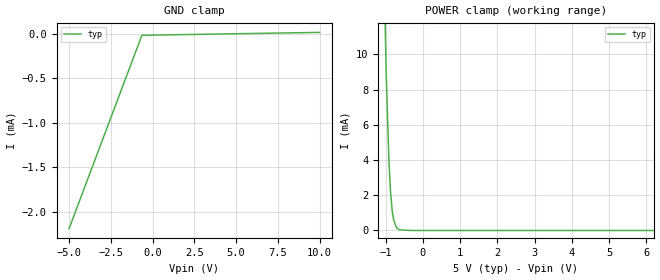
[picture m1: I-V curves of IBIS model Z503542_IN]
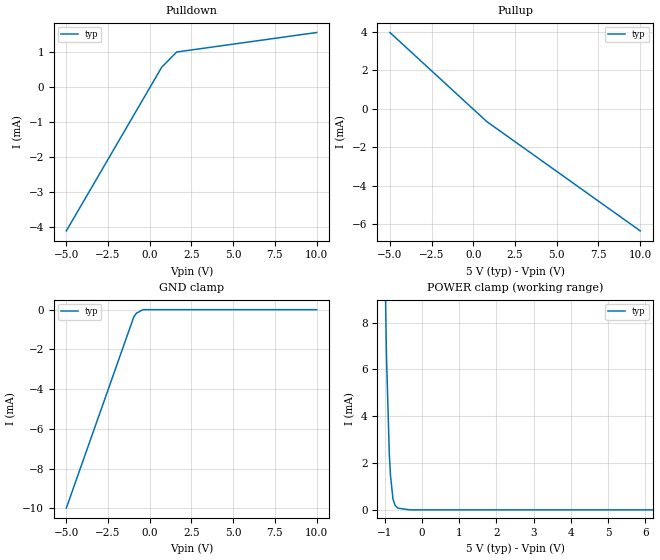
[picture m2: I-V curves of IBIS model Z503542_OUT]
| YOU ARE ONLY AUTHORIZED TO USE THIS SOFTWARE
| ACCORDING TO LICENSOR'S LICENSE RESTRICTIONS.
[IBIS Ver] 3.1
[File Name] mc14060bcl.ibs
[File Rev] 2.0
[Source] Measured and created by ICX Technology
[Date] Friday 7/14/00 9:07:52 AM
[Copyright]
| (C) COPYRIGHT 1993-2000
| MENTOR GRAPHICS CORPORATION
| ICX STANDARD LIBRARY, ICX PROJECT MODELING,
| ICX CUSTOM MODELING, ICX VENDOR MODEL
| ALL RIGHTS RESERVED.
| THE FOLLOWING ARE TRADEMARKS OR SERVICE MARKS OF
| MENTOR GRAPHICS CORPORATION:ICX (R), ICX STANDARD
| LIBRARY(R), ICX PROJECT MODELING(R), ICX CUSTOM
| MODELING(R), qualityIBIS(TM), MODELVIEWER(TM),
| AND MODELEDITOR(TM)
| ALL COPIES OF SOFTWARE, INCLUDING BUT NOT LIMITED TO
| ANY MODIFICATIONS, ENHANCEMENTS OR DERIVATIVE WORKS,
| MUST CONTAIN ALL MENTOR GRAPHICS CORPORATION'S
| NOTICES AND LEGENDS, INCLUDING THOSE EMBEDDED IN
| SOFTWARE AND THOSE AFFIXED TO SOFTWARE MEDIUM
| AND CONTAINER, AS RECEIVED FROM MENTOR GRAPHICS
| CORPORATION.
|  ZAP Model Builder 2.7
[Component] MC14060BCL
[Manufacturer] OnSemiconductor
[Package]
| variable   typ   min   max
R_pkg  .212ohms NA NA
L_pkg  4.758nH NA NA
C_pkg  1.944pF NA NA
[Pin] signal_name  model_name  R_pin  L_pin C_pin
1 Q12 Z503542_OUT .224 7.258n 2.683p
2 Q13 Z503542_OUT .216 5.258n 2.19p
3 Q14 Z503542_OUT .208 3.758n 1.697p
4 Q6 Z503542_OUT .2 2.758n 1.204p
5 Q5 Z503542_OUT .2 2.758n 1.204p
6 Q7 Z503542_OUT .208 3.758n 1.697p
7 Q4 Z503542_OUT .216 5.258n 2.19p
8 VSS GND .224 7.258n 2.683p
9 OUT1 Z503542_OUT .224 7.258n 2.683p
10 OUT2 Z503542_OUT .216 5.258n 2.19p
11 CLK Z503542_IN .208 3.758n 1.697p
12 RESET Z503542_IN .2 2.758n 1.204p
13 Q9 Z503542_OUT .2 2.758n 1.204p
14 Q8 Z503542_OUT .208 3.758n 1.697p
15 Q10 Z503542_OUT .216 5.258n 2.19p
16 VDD POWER .224 7.258n 2.683p
| Models and submodels in the file (2): Z503542_IN (Input), Z503542_OUT (Output)
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| (C) COPYRIGHT 1993-2000
| MENTOR GRAPHICS CORPORATION
| ICX STANDARD LIBRARY, ICX PROJECT MODELING,
| ICX CUSTOM MODELING, ICX VENDOR MODEL
| ALL RIGHTS RESERVED.
| THE FOLLOWING ARE TRADEMARKS OR SERVICE MARKS OF
| MENTOR GRAPHICS CORPORATION:ICX (R), ICX STANDARD
| LIBRARY(R), ICX PROJECT MODELING(R), ICX CUSTOM
| MODELING(R), qualityIBIS(TM), MODELVIEWER(TM),
| AND MODELEDITOR(TM)
| ALL COPIES OF SOFTWARE, INCLUDING BUT NOT LIMITED TO
| ANY MODIFICATIONS, ENHANCEMENTS OR DERIVATIVE WORKS,
| MUST CONTAIN ALL MENTOR GRAPHICS CORPORATION'S
| NOTICES AND LEGENDS, INCLUDING THOSE EMBEDDED IN
| SOFTWARE AND THOSE AFFIXED TO SOFTWARE MEDIUM
| AND CONTAINER, AS RECEIVED FROM MENTOR GRAPHICS
| CORPORATION.
| Model Application Version 1.89 2/18/99.
[Model] Z503542_IN
Model_type Input
Vinl = 1.500V
Vinh = 3.500V
C_comp 4.000pF NA NA
| variable typ   min   max
[Voltage Range] 5.000V NA NA
[GND Clamp Reference] 0.000V NA NA
[POWER Clamp Reference] 5.000V NA NA
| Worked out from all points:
|   POWER clamp passes 1 mA (typ) near -0.81 V on its own axis
[GND Clamp]
-5V       -2.192mA   NA         NA
-639.5mV  -15.16uA   NA         NA
10V       17.27uA    NA         NA
[POWER Clamp]
-5V       415.3mA    NA         NA
-981mV    8.728mA    NA         NA
-908mV    3.866mA    NA         NA
-867mV    2.197mA    NA         NA
-820mV    1.073mA    NA         NA
-785mV    615.6uA    NA         NA
-708mV    163.7uA    NA         NA
-630mV    35.08uA    NA         NA
-315mV    0A         NA         NA
10V       0A         NA         NA
| (C) COPYRIGHT 1993-2000
| MENTOR GRAPHICS CORPORATION
| ICX STANDARD LIBRARY, ICX PROJECT MODELING,
| ICX CUSTOM MODELING, ICX VENDOR MODEL
| ALL RIGHTS RESERVED.
| THE FOLLOWING ARE TRADEMARKS OR SERVICE MARKS OF
| MENTOR GRAPHICS CORPORATION:ICX (R), ICX STANDARD
| LIBRARY(R), ICX PROJECT MODELING(R), ICX CUSTOM
| MODELING(R), qualityIBIS(TM), MODELVIEWER(TM),
| AND MODELEDITOR(TM)
| ALL COPIES OF SOFTWARE, INCLUDING BUT NOT LIMITED TO
| ANY MODIFICATIONS, ENHANCEMENTS OR DERIVATIVE WORKS,
| MUST CONTAIN ALL MENTOR GRAPHICS CORPORATION'S
| NOTICES AND LEGENDS, INCLUDING THOSE EMBEDDED IN
| SOFTWARE AND THOSE AFFIXED TO SOFTWARE MEDIUM
| AND CONTAINER, AS RECEIVED FROM MENTOR GRAPHICS
| CORPORATION.
| Model Application Version 1.89 2/18/99.
[Model] Z503542_OUT
Model_type Output
Vref=0.000V
Rref=500.0Mohms
Cref=50.00pF
Vmeas=2.500V
C_comp 8.000pF NA NA
| variable typ   min   max
[Voltage Range] 5.000V NA NA
[POWER Clamp Reference] 5.000V NA NA
[Pullup Reference] 5.000V NA NA
[Pulldown Reference] 0.000V NA NA
[GND Clamp Reference] 0.000V NA NA
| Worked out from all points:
|   slope of the pulldown table from 0 to 0.75 V, typ, clamps not added: 1.24 kohm
|   slope of the pullup table from 0 to 0.75 V, typ, clamps not added: 1.26 kohm
|   POWER clamp passes 1 mA (typ) near -0.82 V on its own axis
[GND Clamp]
-5V       -9.983mA   NA         NA
-957.1mV  -365.6uA   NA         NA
-800.8mV  -178.8uA   NA         NA
-400.4mV  0A         NA         NA
10V       0A         NA         NA
[Pulldown]
-5V       -4.104mA   NA         NA
719.5mV   580.8uA    NA         NA
1.616V    1.014mA    NA         NA
10V       1.572mA    NA         NA
[Pullup]
-5V       3.967mA    NA         NA
798mV     -652.1uA   NA         NA
10V       -6.332mA   NA         NA
[POWER Clamp]
-5V       420.7mA    NA         NA
-957mV    6.639mA    NA         NA
-879mV    2.36mA     NA         NA
-848mV    1.471mA    NA         NA
-781mV    459.1uA    NA         NA
-722mV    186.9uA    NA         NA
-645mV    69.77uA    NA         NA
-322.5mV  0A         NA         NA
10V       0A         NA         NA
[Ramp]
| variable typ min max
dV/dt_r 1.910/24.27n NA NA
dV/dt_f 1.910/14.86n NA NA
R_load = 2.500kOhms
